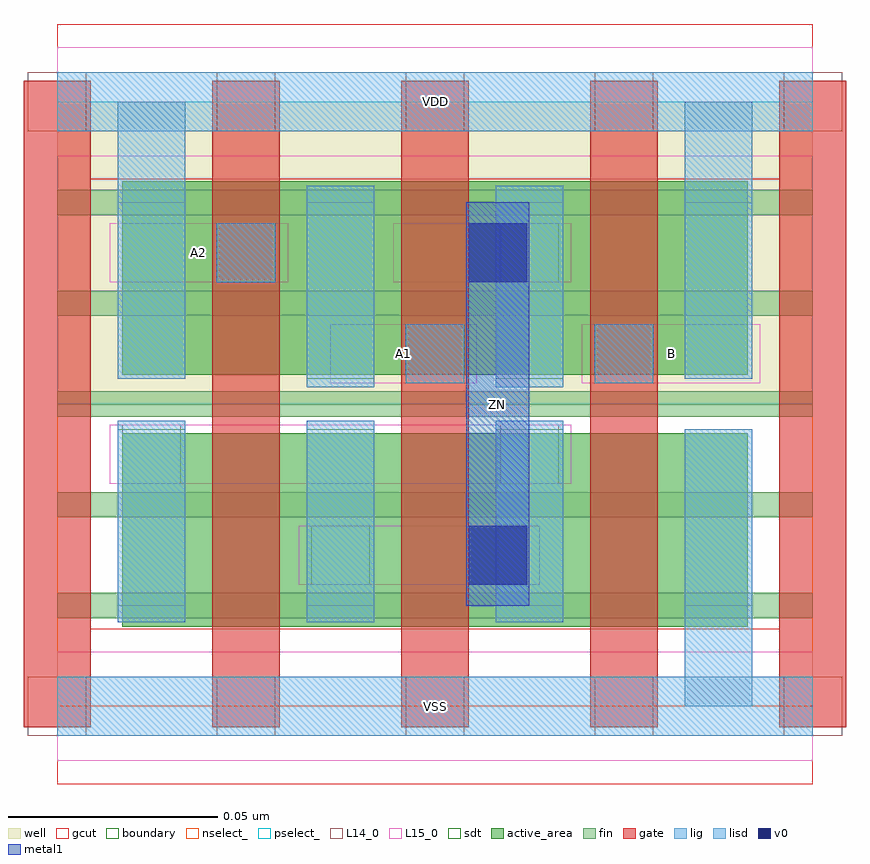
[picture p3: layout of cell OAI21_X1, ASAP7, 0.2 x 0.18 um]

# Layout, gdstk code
import gdstk
lib = gdstk.Library(unit=1e-6, precision=2.5e-10)
def R(c, l, rs):  # rectangles x0, y0, x1, y1
    for r in rs: c.add(gdstk.rectangle(r[:2], r[2:], *l))
def A(c, l, x, y, w, h, nx, ny, dx, dy):  # array of equal rectangles
    R(c, l, [(x+i*dx, y+j*dy, x+i*dx+w, y+j*dy+h) for i in range(nx) for j in range(ny)])
well = (1, 0)
fin = (2, 0)
gate = (7, 0)
gcut = (10, 0)
active_area = (11, 0)
nselect_ = (12, 0)
pselect_ = (13, 0)
L14_0 = (14, 0)
L15_0 = (15, 0)
lig = (16, 0)
lisd = (17, 0)
v0 = (18, 0)
metal1 = (19, 0)
sdt = (88, 0)
boundary = (100, 0)

oai21_x1 = lib.new_cell('OAI21_X1')
R(oai21_x1, well, [(0,0.072,0.18,0.144)])
A(oai21_x1, fin, 0, 0.021, 0.18, 0.006, 1, 5, 0, 0.024)
A(oai21_x1, gate, -0.008, -0.005, 0.016, 0.154, 5, 1, 0.045, 0)
R(oai21_x1, gcut, [(0,-0.0185,0.18,0.0185), (-0.008,-0.005,0.008,0.149), (0.172,-0.005,0.188,0.149), (0,0.1255,0.18,0.1625)])
A(oai21_x1, active_area, 0.0155, 0.019, 0.059, 0.046, 3, 2, 0.045, 0.06)
R(oai21_x1, nselect_, [(0,0,0.18,0.072)])
R(oai21_x1, pselect_, [(0,0.072,0.18,0.144)])
A(oai21_x1, L14_0, -0.007, -0.007, 0.014, 0.014, 5, 2, 0.045, 0.144)
R(oai21_x1, L14_0, [(0.0605,0.029,0.0745,0.043), (0.0155,0.053,0.0295,0.067), (0.1055,0.053,0.1195,0.067), (0.083,0.077,0.097,0.091), (0.128,0.077,0.142,0.091), (0.038,0.101,0.052,0.115), (0.1055,0.101,0.1195,0.115)])
R(oai21_x1, L15_0, [(0,-0.013,0.18,0.013), (0.0575,0.029,0.115,0.043), (0.0125,0.053,0.1225,0.067), (0.065,0.077,0.1,0.091), (0.125,0.077,0.1675,0.091), (0.0125,0.101,0.055,0.115), (0.08,0.101,0.1225,0.115), (0,0.131,0.18,0.157)])
R(oai21_x1, lig, [(0,-0.007,0.18,0.007), (0.083,0.077,0.097,0.091), (0.128,0.077,0.142,0.091), (0.038,0.101,0.052,0.115), (0,0.137,0.18,0.151)])
R(oai21_x1, lisd, [(0.1495,0,0.1655,0.066), (0.0145,0.02,0.0305,0.068), (0.0595,0.02,0.0755,0.068), (0.0595,0.02,0.0755,0.068), (0.1045,0.02,0.1205,0.068), (0.1045,0.02,0.1205,0.068), (0.0595,0.076,0.0755,0.124), (0.0595,0.076,0.0755,0.124), (0.1045,0.076,0.1205,0.124), (0.1045,0.076,0.1205,0.124), (0.0145,0.078,0.0305,0.144), (0.1495,0.078,0.1655,0.144)])
R(oai21_x1, v0, [(0.098,0.029,0.112,0.043), (0.098,0.101,0.112,0.115)])
R(oai21_x1, metal1, [(0.0975,0.024,0.1125,0.12)])
R(oai21_x1, sdt, [(0.0145,0.024,0.0305,0.066), (0.0595,0.024,0.0755,0.066), (0.0595,0.024,0.0755,0.066), (0.1045,0.024,0.1205,0.066), (0.1045,0.024,0.1205,0.066), (0.1495,0.024,0.1655,0.066), (0.0145,0.078,0.0305,0.12), (0.0595,0.078,0.0755,0.12), (0.0595,0.078,0.0755,0.12), (0.1045,0.078,0.1205,0.12), (0.1045,0.078,0.1205,0.12), (0.1495,0.078,0.1655,0.12)])
R(oai21_x1, boundary, [(0,0,0.18,0.144)])
oai21_x1.add(gdstk.Label('VDD', (0.09,0.144), layer=1, texttype=251))
oai21_x1.add(gdstk.Label('VSS', (0.09,0), layer=3, texttype=251))
oai21_x1.add(gdstk.Label('A2', (0.0338,0.108), layer=15, texttype=251))
oai21_x1.add(gdstk.Label('A1', (0.0825,0.084), layer=15, texttype=251))
oai21_x1.add(gdstk.Label('B', (0.1462,0.084), layer=15, texttype=251))
oai21_x1.add(gdstk.Label('VSS', (0.09,0), layer=15, texttype=251))
oai21_x1.add(gdstk.Label('VDD', (0.09,0.144), layer=15, texttype=251))
oai21_x1.add(gdstk.Label('ZN', (0.105,0.072), layer=19, texttype=251))

lib.write_gds('OAI21_X1.gds')
